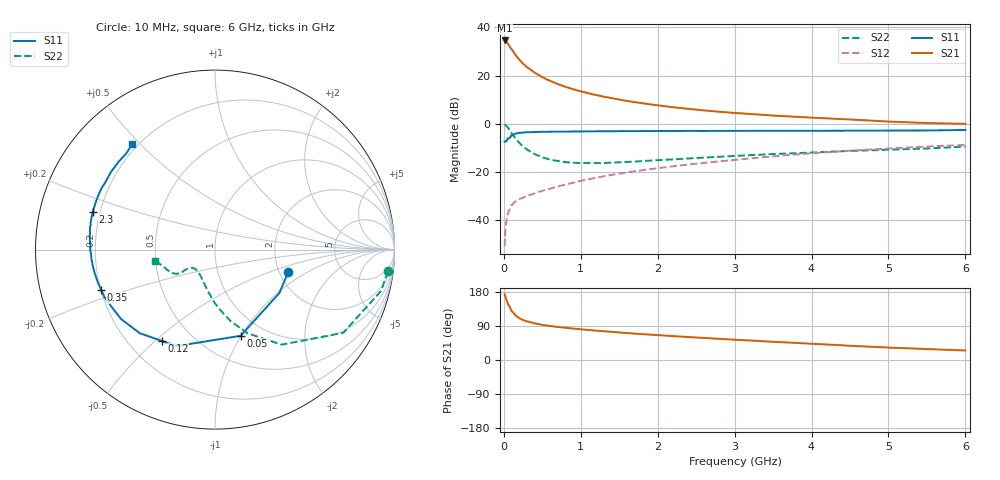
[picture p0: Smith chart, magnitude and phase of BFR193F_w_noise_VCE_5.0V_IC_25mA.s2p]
! Infineon Technologies  Discrete & RF Semiconductors
! BFR193F
! VCE =  5.0 V,  IC =  25 mA
! Common Emitter S-Parameters:  Jan 2017
# GHz  S  MA  R  50
!  f  S11  S21  S12  S22
! GHz  MAG  ANG  MAG  ANG  MAG  ANG  MAG  ANG
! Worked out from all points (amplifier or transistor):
!   77 points, 10 MHz to 6 GHz, reference 50 ohm
!   highest |S21| = 34.6 dB at 10 MHz (marker M1)
!   |S21| within 3 dB of that: start of sweep to 86.68 MHz
!   unconditionally stable (mu >= 1): 1.163 GHz to 2.701 GHz
!   at 130 MHz: K = 0.33, MSG = 31.2 dB, |S12| = -32.8 dB
!   at 2.2 GHz: K = 1.02, MAG = 11.4 dB, |S12| = -17.6 dB
!   at 6 GHz: K = 0.85, MSG = 4.4 dB, |S12| = -8.7 dB
!   lowest NFmin = 1.11 dB at 450 MHz
!   S11 on the Smith chart (normalised r, x): 10 MHz: 2.24, -0.67; 50 MHz: 0.78, -1.00; 120 MHz: 0.34, -0.52; 350 MHz: 0.20, -0.17; 2.3 GHz: 0.17, +0.15; 6 GHz: 0.18, +0.47
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0.01  0.4265 -16.7  53.76 173.4  0.0029 83.4  0.971 -7.2
0.02  0.4326 -33.9  52.41 166.5  0.0062 79.6  0.9535 -14.0
0.05  0.501 -73.4  46.92 149.4  0.0135 67.0  0.8522 -32.9
0.1  0.5789 -111.8  35.52 129.4  0.0204 53.1  0.6465 -55.0
0.12  0.589 -120.3  32.02 125.5  0.0221 51.3  0.5842 -59.7
0.15  0.6268 -132.0  27.12 117.9  0.0246 49.0  0.5002 -68.8
0.2  0.6506 -143.5  21.55 110.4  0.0274 46.4  0.406 -77.9
0.25  0.6598 -151.7  17.72 105.5  0.0294 47.3  0.338 -85.0
0.3  0.6699 -156.8  15.05 101.9  0.0317 49.7  0.2949 -90.7
0.35  0.6723 -160.5  13.26 99.6  0.0339 50.7  0.2645 -94.7
0.4  0.6776 -164.2  11.5 96.5  0.0361 51.6  0.2356 -99.6
0.5  0.6835 -169.1  9.289 92.8  0.0408 55.0  0.2018 -106.7
0.6  0.6869 -172.7  7.795 89.8  0.0451 58.1  0.1814 -112.7
0.8  0.6909 -177.8  5.873 85.1  0.0551 62.5  0.1608 -122.6
1.1  0.6974 176.6  4.31 79.2  0.0707 66.3  0.154 -131.8
1.6  0.7073 169.7  2.996 71.1  0.0982 69.1  0.1619 -141.2
2.1  0.7112 164.5  2.317 64.4  0.1258 70.6  0.18 -144.6
2.3  0.7125 162.7  2.128 61.8  0.1373 70.7  0.1875 -145.2
3.1  0.7162 155.7  1.645 52.5  0.185 70.2  0.22 -145.5
4.1  0.7181 146.7  1.323 41.9  0.2514 67.0  0.2578 -148.6
5.1  0.7267 136.7  1.101 32.0  0.3142 61.9  0.2942 -159.0
6  0.748 128.1  1.002 25.2  0.3663 56.6  0.3378 -169.5
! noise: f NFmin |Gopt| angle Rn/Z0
0.45  1.11  0.36  173  0.06
0.9  1.19  0.41  174  0.06
1.9  1.77  0.57  -169  0.07
2.4  2.06  0.61  -160  0.11
